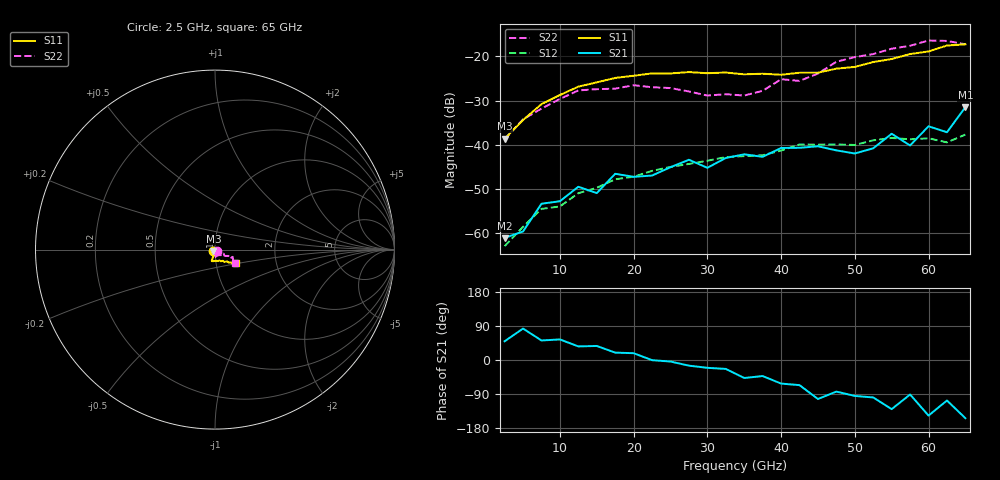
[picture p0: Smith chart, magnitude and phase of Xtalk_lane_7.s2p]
! File created by SignalIntegrity v1.5.1: Signal and Power Integrity Tools
! https://github.com/Nubis-Communications/SignalIntegrity
# MHz S MA R 50.0
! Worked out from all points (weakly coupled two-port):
!   26 points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, 2.5 GHz to 65 GHz, reference 50 ohm
!   highest |S21| = -31.49 dB at 65 GHz (marker M1); lowest = -61.2 dB at 2.5 GHz (marker M2)
!   lowest |S11| = -38.6 dB at 2.5 GHz (marker M3), VSWR 1.02, Z = 49.1 - j0.79 ohm
!   |S11| at or under -10 dB: start of sweep to end of sweep
!   |S22| runs from -38.8 to -16.4 dB; largest |S21 - S12| = 0.014
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2500  0.01171 -136.7  0.000876 49.4  0.0007067 62.7  0.01148 -32.2
5000  0.01903 -109.5  0.001037 82.9  0.001171 71.8  0.01938 -56.1
7500  0.0288 -108.8  0.002139 51.5  0.00187 55.0  0.02565 -71.2
10000  0.03657 -103.8  0.002286 54.3  0.001992 50.0  0.03298 -79.8
12500  0.04548 -106.3  0.003333 35.8  0.002818 39.1  0.04121 -85.6
15000  0.05087 -104.7  0.002825 37.1  0.003245 31.1  0.04259 -90.7
17500  0.05712 -106.6  0.004677 19.5  0.004052 21.3  0.04317 -94.1
22500  0.06428 -106.8  0.004467 -0.4  0.005047 5.9  0.04479 -97.9
25000  0.06421 -103.9  0.005553 -4.1  0.005599 -2.1  0.04386 -97.3
27500  0.06656 -104.3  0.006744 -14.9  0.006045 -12.4  0.0401 -87.9
30000  0.06458 -101.1  0.005467 -20.7  0.00657 -20.7  0.03604 -82.0
35000  0.06272 -94.3  0.007776 -47.4  0.007416 -38.5  0.03607 -59.5
37500  0.06375 -90.5  0.007284 -42.4  0.00759 -50.2  0.04078 -48.8
40000  0.06203 -82.2  0.009172 -62.2  0.008571 -59.3  0.05527 -34.3
45000  0.06549 -67.9  0.009592 -102.9  0.01002 -78.9  0.06397 -33.2
50000  0.0761 -54.7  0.007946 -94.8  0.009922 -90.6  0.09842 -30.1
52500  0.08648 -52.8  0.009094 -98.9  0.01121 -100.8  0.1064 -22.3
55000  0.09358 -44.5  0.0133 -129.7  0.01192 -114.1  0.1225 -33.6
57500  0.1066 -42.9  0.009793 -91.0  0.0115 -127.2  0.1322 -36.0
60000  0.114 -38.9  0.01616 -146.7  0.0118 -123.9  0.1519 -33.1
62500  0.133 -38.5  0.01383 -106.9  0.01063 -132.9  0.1501 -35.7
65000  0.1374 -32.5  0.02665 -153.6  0.013 -141.8  0.1374 -33.9
